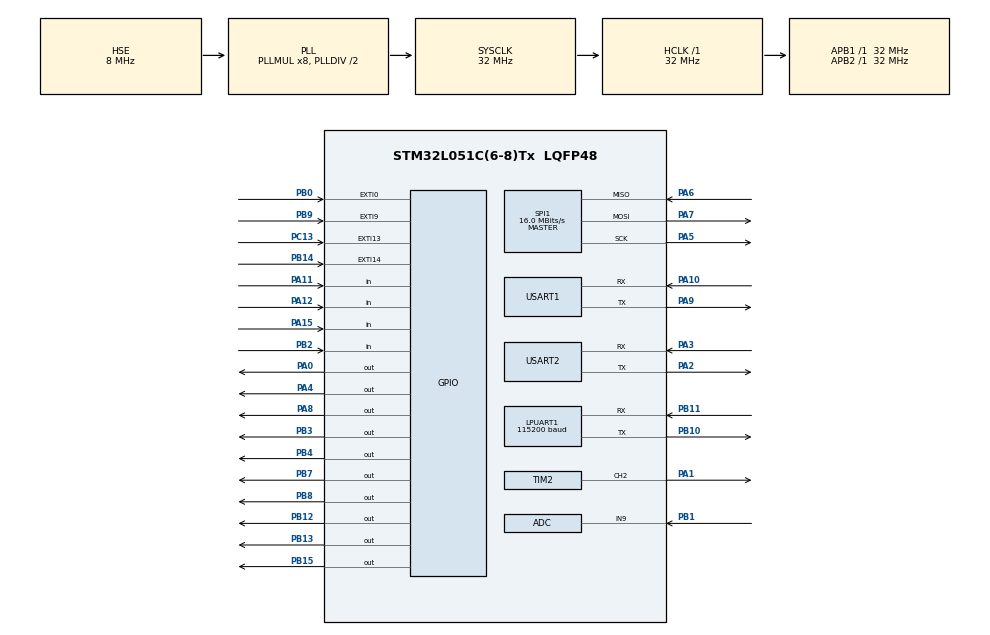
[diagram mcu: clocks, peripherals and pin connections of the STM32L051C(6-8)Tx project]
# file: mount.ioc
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ADC.ClockPrescaler=ADC_CLOCK_ASYNC_DIV64
ADC.ContinuousConvMode=ENABLE
ADC.DMAContinuousRequests=DISABLE
ADC.DataAlign=ADC_DATAALIGN_RIGHT
ADC.DiscontinuousConvMode=DISABLE
ADC.EOCSelection=ADC_EOC_SINGLE_SEQ_CONV
ADC.EnableAnalogWatchDog=false
ADC.ExternalTrigConv=ADC_SOFTWARE_START
ADC.ExternalTrigConvEdge=ADC_EXTERNALTRIGCONVEDGE_NONE
ADC.LowPowerAutoPowerOff=DISABLE
ADC.LowPowerAutoWait=DISABLE
ADC.LowPowerFrequencyMode=DISABLE
ADC.Overrun=ADC_OVR_DATA_PRESERVED
ADC.OversamplingMode=DISABLE
ADC.Resolution=ADC_RESOLUTION_12B
ADC.SamplingTime=ADC_SAMPLETIME_160CYCLES_5
ADC.ScanConvMode=ADC_SCAN_DIRECTION_FORWARD
FREERTOS.INCLUDE_eTaskGetState=1
FREERTOS.Mutexes01=EventLock,Dynamic,NULL;Uart1lock,Dynamic,NULL
FREERTOS.Queues01=EventQ,10,EventTypeDef,NULL,Dynamic,NULL,NULL;UartQ,16,uint8_t,NULL,Dynamic,NULL,NULL
FREERTOS.Tasks01=defaultTask,2,64,StartDefaultTask,Default,NULL,Dynamic,NULL,NULL;eventhandle,-3,128,Event_Task,Default,NULL,Dynamic,NULL,NULL;lte,-3,128,Lte_task,Default,NULL,Dynamic,NULL,NULL;s2lhandle,-3,128,S2L_Task,Default,NULL,Dynamic,NULL,NULL
FREERTOS.configMINIMAL_STACK_SIZE=64
FREERTOS.configTOTAL_HEAP_SIZE=5200
IWDG.Prescaler=IWDG_PRESCALER_32
LPUART1.BaudRate=115200
LPUART1.WordLength=UART_WORDLENGTH_8B
Mcu.Family=STM32L0
Mcu.Name=STM32L051C(6-8)Tx
Mcu.Package=LQFP48
NVIC.ADC1_COMP_IRQn=true\:3\:0\:false\:false\:true\:true
NVIC.AES_RNG_LPUART1_IRQn=true\:3\:0\:false\:false\:false\:true
NVIC.EXTI0_1_IRQn=true\:3\:0\:false\:false\:true\:true
NVIC.EXTI4_15_IRQn=true\:3\:0\:false\:false\:true\:true
NVIC.RTC_IRQn=true\:3\:0\:false\:false\:true\:true
NVIC.TIM2_IRQn=true\:0\:0\:false\:false\:true\:false
NVIC.TIM6_DAC_IRQn=true\:3\:0\:false\:false\:true\:true
NVIC.USART1_IRQn=true\:3\:0\:false\:false\:false\:true
NVIC.USART2_IRQn=true\:3\:0\:false\:false\:true\:true
PA0.Signal=GPIO_Output
PA1.Signal=S_TIM2_CH2
PA10.Mode=Asynchronous
PA10.Signal=USART1_RX
PA11.Signal=GPIO_Input
PA12.Signal=GPIO_Input
PA13.Mode=Serial_Wire
PA13.Signal=SYS_SWDIO
PA14.Mode=Serial_Wire
PA14.Signal=SYS_SWCLK
PA15.Signal=GPIO_Input
PA2.Mode=Asynchronous
PA2.Signal=USART2_TX
PA3.Mode=Asynchronous
PA3.Signal=USART2_RX
PA4.Signal=GPIO_Output
PA5.Mode=Full_Duplex_Master
PA5.Signal=SPI1_SCK
PA6.Mode=Full_Duplex_Master
PA6.Signal=SPI1_MISO
PA7.Mode=Full_Duplex_Master
PA7.Signal=SPI1_MOSI
PA8.Signal=GPIO_Output
PA9.Mode=Asynchronous
PA9.Signal=USART1_TX
PB0.Signal=GPXTI0
PB1.Mode=IN9
PB1.Signal=ADC_IN9
PB10.Mode=Asynchronous
PB10.Signal=LPUART1_TX
PB11.Mode=Asynchronous
PB11.Signal=LPUART1_RX
PB12.Signal=GPIO_Output
PB13.Signal=GPIO_Output
PB14.GPIO_ModeDefaultEXTI=GPIO_MODE_IT_FALLING
PB14.Signal=GPXTI14
PB15.Signal=GPIO_Output
PB2.Signal=GPIO_Input
PB3.Signal=GPIO_Output
PB4.Signal=GPIO_Output
PB7.Signal=GPIO_Output
PB8.Signal=GPIO_Output
PB9.GPIO_ModeDefaultEXTI=GPIO_MODE_IT_RISING_FALLING
PB9.GPIO_PuPd=GPIO_PULLDOWN
PB9.Signal=GPXTI9
PC13.GPIO_ModeDefaultEXTI=GPIO_MODE_IT_RISING_FALLING
PC13.GPIO_PuPd=GPIO_NOPULL
PC13.Signal=GPXTI13
PC14-OSC32_IN.Mode=LSE-External-Oscillator
PC14-OSC32_IN.Signal=RCC_OSC32_IN
PC15-OSC32_OUT.Mode=LSE-External-Oscillator
PC15-OSC32_OUT.Signal=RCC_OSC32_OUT
PH0-OSC_IN.Mode=HSE-External-Oscillator
PH0-OSC_IN.Signal=RCC_OSC_IN
PH1-OSC_OUT.Mode=HSE-External-Oscillator
PH1-OSC_OUT.Signal=RCC_OSC_OUT
ProjectManager.HeapSize=0x200
ProjectManager.StackSize=0x400
ProjectManager.TargetToolchain=EWARM
RCC.AHBCLKDivider=RCC_SYSCLK_DIV1
RCC.AHBFreq_Value=32000000
RCC.APB1CLKDivider=RCC_HCLK_DIV1
RCC.APB1Freq_Value=32000000
RCC.APB1TimFreq_Value=32000000
RCC.APB2CLKDivider=RCC_HCLK_DIV1
RCC.APB2Freq_Value=32000000
RCC.APB2TimFreq_Value=32000000
RCC.EnableCSSLSE=false
RCC.EnbaleCSS=false
RCC.HCLKFreq_Value=32000000
RCC.HSE_VALUE=8000000
RCC.HSI16_VALUE=16000000
RCC.HSIRCDiv=1
RCC.HSI_VALUE=16000000
RCC.MSI_VALUE=2097000
RCC.PLLDIV=RCC_PLLDIV_2
RCC.PLLMUL=RCC_PLLMUL_8
RCC.PLLSourceVirtual=RCC_PLLSOURCE_HSE
RCC.RCC_MCODiv=RCC_MCODIV_1
RCC.RCC_RTC_Clock_Source_FROM_HSE=RCC_RTCCLKSOURCE_HSE_DIV2
RCC.RTCClockSelection=RCC_RTCCLKSOURCE_LSE
RCC.RTCClockSelectionVirtual=RCC_RTCCLKSOURCE_LSE
RCC.SYSCLKFreq_VALUE=32000000
RCC.SYSCLKSource=RCC_SYSCLKSOURCE_PLLCLK
RCC.TimPrescaler=SYSTICK_CLKSOURCE_HCLK
RCC.VCOOutputFreq_Value=64000000
RTC.WakeUpClock-WakeUp=RTC_WAKEUPCLOCK_CK_SPRE_16BITS
RTC.WakeUpCounter-WakeUp=30
SH.S_TIM2_CH2.0=TIM2_CH2,PWM Generation2 CH2
SPI1.CalculateBaudRate=16.0 MBits/s
SPI1.Direction=SPI_DIRECTION_2LINES
SPI1.Mode=SPI_MODE_MASTER
SPI1.VirtualType=VM_MASTER
TIM2.Channel-PWM\ Generation2\ CH2=TIM_CHANNEL_2
TIM2.Period=1000-1
TIM2.Prescaler=32-1
TIM6.Prescaler=32000-1
USART1.VirtualMode-Asynchronous=VM_ASYNC
USART1.WordLength=WORDLENGTH_8B
USART2.VirtualMode-Asynchronous=VM_ASYNC
USART2.WordLength=WORDLENGTH_8B
VP_ADC_TempSens_Input.Mode=IN-TempSens
VP_ADC_Vref_Input.Mode=IN-Vrefint
VP_FREERTOS_VS_ENABLE.Mode=Enabled
VP_IWDG_VS_IWDG.Mode=IWDG_Activate
VP_RTC_VS_RTC_Activate.Mode=RTC_Enabled
VP_RTC_VS_RTC_Calendar.Mode=RTC_Calendar
VP_RTC_VS_RTC_WakeUp_intern.Mode=WakeUp
VP_TIM2_VS_ClockSourceINT.Mode=Internal
VP_TIM6_VS_ClockSourceINT.Mode=Enable_Timer
board=mount

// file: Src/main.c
/**
  ******************************************************************************
  * File Name          : main.c
  * Description        : Main program body
  ******************************************************************************
  * This notice applies to any and all portions of this file
  * that are not between comment pairs USER CODE BEGIN and
  * USER CODE END. Other portions of this file, whether
  * inserted by the user or by software development tools
  * are owned by their respective copyright owners.
  *
  * Copyright (c) 2017 STMicroelectronics International N.V.
  * All rights reserved.
  *
  * Redistribution and use in source and binary forms, with or without
  * modification, are permitted, provided that the following conditions are met:
  *
  * 1. Redistribution of source code must retain the above copyright notice,
  *    this list of conditions and the following disclaimer.
  * 2. Redistributions in binary form must reproduce the above copyright notice,
  *    this list of conditions and the following disclaimer in the documentation
  *    and/or other materials provided with the distribution.
  * 3. Neither the name of STMicroelectronics nor the names of other
  *    contributors to this software may be used to endorse or promote products
  *    derived from this software without specific written permission.
  * 4. This software, including modifications and/or derivative works of this
  *    software, must execute solely and exclusively on microcontroller or
  *    microprocessor devices manufactured by or for STMicroelectronics.
  * 5. Redistribution and use of this software other than as permitted under
  *    this license is void and will automatically terminate your rights under
  *    this license.
  *
  * THIS SOFTWARE IS PROVIDED BY STMICROELECTRONICS AND CONTRIBUTORS "AS IS"
  * AND ANY EXPRESS, IMPLIED OR STATUTORY WARRANTIES, INCLUDING, BUT NOT
  * LIMITED TO, THE IMPLIED WARRANTIES OF MERCHANTABILITY, FITNESS FOR A
  * PARTICULAR PURPOSE AND NON-INFRINGEMENT OF THIRD PARTY INTELLECTUAL PROPERTY
  * RIGHTS ARE DISCLAIMED TO THE FULLEST EXTENT PERMITTED BY LAW. IN NO EVENT
  * SHALL STMICROELECTRONICS OR CONTRIBUTORS BE LIABLE FOR ANY DIRECT, INDIRECT,
  * INCIDENTAL, SPECIAL, EXEMPLARY, OR CONSEQUENTIAL DAMAGES (INCLUDING, BUT NOT
  * LIMITED TO, PROCUREMENT OF SUBSTITUTE GOODS OR SERVICES; LOSS OF USE, DATA,
  * OR PROFITS; OR BUSINESS INTERRUPTION) HOWEVER CAUSED AND ON ANY THEORY OF
  * LIABILITY, WHETHER IN CONTRACT, STRICT LIABILITY, OR TORT (INCLUDING
  * NEGLIGENCE OR OTHERWISE) ARISING IN ANY WAY OUT OF THE USE OF THIS SOFTWARE,
  * EVEN IF ADVISED OF THE POSSIBILITY OF SUCH DAMAGE.
  *
  ******************************************************************************
  */
#include "main.h"
#include "stm32l0xx_hal.h"
#include "cmsis_os.h"

/* USER CODE BEGIN Includes */
#include "bsp.h"
#include "task.h"
#include "event.h"
#include "lis3dx.h"
#include "lte.h"
#include "s2l.h"
#include "cJSON.h"
#include "stdlib.h"
#include "fhex.h"
#include "period.h"
/* USER CODE END Includes */

ADC_HandleTypeDef hadc;

IWDG_HandleTypeDef hiwdg;

UART_HandleTypeDef hlpuart1;
UART_HandleTypeDef huart1;
UART_HandleTypeDef huart2;

RTC_HandleTypeDef hrtc;

SPI_HandleTypeDef hspi1;

TIM_HandleTypeDef htim2;
TIM_HandleTypeDef htim6;

osThreadId defaultTaskHandle;
osThreadId eventhandleHandle;
osThreadId lteHandle;
osThreadId s2lhandleHandle;
osMessageQId EventQHandle;
osMessageQId UartQHandle;
osMutexId EventLockHandle;
osMutexId Uart1lockHandle;

/* USER CODE BEGIN PV */
/* Private variables ---------------------------------------------------------*/

/* USER CODE END PV */

void SystemClock_Config(void);
static void MX_GPIO_Init(void);
static void MX_USART2_UART_Init(void);
static void MX_SPI1_Init(void);
static void MX_ADC_Init(void);
static void MX_LPUART1_UART_Init(void);
static void MX_USART1_UART_Init(void);
static void MX_RTC_Init(void);
static void MX_TIM6_Init(void);
static void MX_TIM2_Init(void);
static void MX_IWDG_Init(void);
void StartDefaultTask(void const * argument);
void Event_Task(void const * argument);
void Lte_task(void const * argument);
void S2L_Task(void const * argument);

void HAL_TIM_MspPostInit(TIM_HandleTypeDef *htim);

/* USER CODE BEGIN PFP */
/* Private function prototypes -----------------------------------------------*/

/* USER CODE END PFP */

int main(void)
{

  /* MCU Configuration----------------------------------------------------------*/

  /* Reset of all peripherals, Initializes the Flash interface and the Systick. */
  HAL_Init();

  /* Configure the system clock */
  SystemClock_Config();

  /* Initialize all configured peripherals */
  MX_GPIO_Init();
  MX_USART2_UART_Init();
  MX_SPI1_Init();
  MX_ADC_Init();
  MX_LPUART1_UART_Init();
  MX_USART1_UART_Init();
  MX_RTC_Init();
  MX_TIM6_Init();
  MX_TIM2_Init();
  MX_IWDG_Init();

  /* Create the mutex(es) */
  /* definition and creation of EventLock */
  osMutexDef(EventLock);
  EventLockHandle = osMutexCreate(osMutex(EventLock));

  /* definition and creation of Uart1lock */
  osMutexDef(Uart1lock);
  Uart1lockHandle = osMutexCreate(osMutex(Uart1lock));

  /* Create the thread(s) */
  /* definition and creation of defaultTask */
  osThreadDef(defaultTask, StartDefaultTask, osPriorityHigh, 0, 64);
  defaultTaskHandle = osThreadCreate(osThread(defaultTask), NULL);

  /* definition and creation of eventhandle */
  osThreadDef(eventhandle, Event_Task, osPriorityIdle, 0, 128);
  eventhandleHandle = osThreadCreate(osThread(eventhandle), NULL);

  /* definition and creation of lte */
  osThreadDef(lte, Lte_task, osPriorityIdle, 0, 128);
  lteHandle = osThreadCreate(osThread(lte), NULL);

  /* definition and creation of s2lhandle */
  osThreadDef(s2lhandle, S2L_Task, osPriorityIdle, 0, 128);
  s2lhandleHandle = osThreadCreate(osThread(s2lhandle), NULL);

  /* Create the queue(s) */
  /* definition and creation of EventQ */
  osMessageQDef(EventQ, 10, EventTypeDef);
  EventQHandle = osMessageCreate(osMessageQ(EventQ), NULL);

  /* definition and creation of UartQ */
  osMessageQDef(UartQ, 16, uint8_t);
  UartQHandle = osMessageCreate(osMessageQ(UartQ), NULL);

  /* USER CODE BEGIN RTOS_QUEUES */
  /* add queues, ... */
  BspInit();
  /* USER CODE END RTOS_QUEUES */

  /* Start scheduler */
  osKernelStart();

  /* We should never get here as control is now taken by the scheduler */

  /* Infinite loop */
  while (1)
  {

  }

}

/** System Clock Configuration
*/
void SystemClock_Config(void)
{

  RCC_OscInitTypeDef RCC_OscInitStruct;
  RCC_ClkInitTypeDef RCC_ClkInitStruct;
  RCC_PeriphCLKInitTypeDef PeriphClkInit;

    /**Configure the main internal regulator output voltage
    */
  __HAL_PWR_VOLTAGESCALING_CONFIG(PWR_REGULATOR_VOLTAGE_SCALE1);

    /**Configure LSE Drive Capability
    */
  __HAL_RCC_LSEDRIVE_CONFIG(RCC_LSEDRIVE_LOW);

    /**Initializes the CPU, AHB and APB busses clocks
    */
  RCC_OscInitStruct.OscillatorType = RCC_OSCILLATORTYPE_HSI|RCC_OSCILLATORTYPE_LSI
                              |RCC_OSCILLATORTYPE_HSE|RCC_OSCILLATORTYPE_LSE;
  RCC_OscInitStruct.HSEState = RCC_HSE_ON;
  RCC_OscInitStruct.LSEState = RCC_LSE_ON;
  RCC_OscInitStruct.HSIState = RCC_HSI_ON;
  RCC_OscInitStruct.HSICalibrationValue = 16;
  RCC_OscInitStruct.LSIState = RCC_LSI_ON;
  RCC_OscInitStruct.PLL.PLLState = RCC_PLL_ON;
  RCC_OscInitStruct.PLL.PLLSource = RCC_PLLSOURCE_HSE;
  RCC_OscInitStruct.PLL.PLLMUL = RCC_PLLMUL_8;
  RCC_OscInitStruct.PLL.PLLDIV = RCC_PLLDIV_2;
  if (HAL_RCC_OscConfig(&RCC_OscInitStruct) != HAL_OK)
  {
    _Error_Handler(__FILE__, __LINE__);
  }

    /**Initializes the CPU, AHB and APB busses clocks
    */
  RCC_ClkInitStruct.ClockType = RCC_CLOCKTYPE_HCLK|RCC_CLOCKTYPE_SYSCLK
                              |RCC_CLOCKTYPE_PCLK1|RCC_CLOCKTYPE_PCLK2;
  RCC_ClkInitStruct.SYSCLKSource = RCC_SYSCLKSOURCE_PLLCLK;
  RCC_ClkInitStruct.AHBCLKDivider = RCC_SYSCLK_DIV1;
  RCC_ClkInitStruct.APB1CLKDivider = RCC_HCLK_DIV1;
  RCC_ClkInitStruct.APB2CLKDivider = RCC_HCLK_DIV1;

  if (HAL_RCC_ClockConfig(&RCC_ClkInitStruct, FLASH_LATENCY_1) != HAL_OK)
  {
    _Error_Handler(__FILE__, __LINE__);
  }

  PeriphClkInit.PeriphClockSelection = RCC_PERIPHCLK_USART1|RCC_PERIPHCLK_USART2
                              |RCC_PERIPHCLK_LPUART1|RCC_PERIPHCLK_RTC;
  PeriphClkInit.Usart1ClockSelection = RCC_USART1CLKSOURCE_PCLK2;
  PeriphClkInit.Usart2ClockSelection = RCC_USART2CLKSOURCE_PCLK1;
  PeriphClkInit.Lpuart1ClockSelection = RCC_LPUART1CLKSOURCE_PCLK1;
  PeriphClkInit.RTCClockSelection = RCC_RTCCLKSOURCE_LSE;
  if (HAL_RCCEx_PeriphCLKConfig(&PeriphClkInit) != HAL_OK)
  {
    _Error_Handler(__FILE__, __LINE__);
  }

    /**Configure the Systick interrupt time
    */
  HAL_SYSTICK_Config(HAL_RCC_GetHCLKFreq()/1000);

    /**Configure the Systick
    */
  HAL_SYSTICK_CLKSourceConfig(SYSTICK_CLKSOURCE_HCLK);

  /* SysTick_IRQn interrupt configuration */
  HAL_NVIC_SetPriority(SysTick_IRQn, 3, 0);
}

/* ADC init function */
static void MX_ADC_Init(void)
{

  ADC_ChannelConfTypeDef sConfig;

    /**Configure the global features of the ADC (Clock, Resolution, Data Alignment and number of conversion)
    */
  hadc.Instance = ADC1;
  hadc.Init.OversamplingMode = DISABLE;
  hadc.Init.ClockPrescaler = ADC_CLOCK_ASYNC_DIV64;
  hadc.Init.Resolution = ADC_RESOLUTION_12B;
  hadc.Init.SamplingTime = ADC_SAMPLETIME_160CYCLES_5;
  hadc.Init.ScanConvMode = ADC_SCAN_DIRECTION_FORWARD;
  hadc.Init.DataAlign = ADC_DATAALIGN_RIGHT;
  hadc.Init.ContinuousConvMode = ENABLE;
  hadc.Init.DiscontinuousConvMode = DISABLE;
  hadc.Init.ExternalTrigConvEdge = ADC_EXTERNALTRIGCONVEDGE_NONE;
  hadc.Init.ExternalTrigConv = ADC_SOFTWARE_START;
  hadc.Init.DMAContinuousRequests = DISABLE;
  hadc.Init.EOCSelection = ADC_EOC_SINGLE_SEQ_CONV;
  hadc.Init.Overrun = ADC_OVR_DATA_PRESERVED;
  hadc.Init.LowPowerAutoWait = DISABLE;
  hadc.Init.LowPowerFrequencyMode = DISABLE;
  hadc.Init.LowPowerAutoPowerOff = DISABLE;
  if (HAL_ADC_Init(&hadc) != HAL_OK)
  {
    _Error_Handler(__FILE__, __LINE__);
  }

    /**Configure for the selected ADC regular channel to be converted.
    */
  sConfig.Channel = ADC_CHANNEL_9;
  sConfig.Rank = ADC_RANK_CHANNEL_NUMBER;
  if (HAL_ADC_ConfigChannel(&hadc, &sConfig) != HAL_OK)
  {
    _Error_Handler(__FILE__, __LINE__);
  }

    /**Configure for the selected ADC regular channel to be converted.
    */
  sConfig.Channel = ADC_CHANNEL_TEMPSENSOR;
  if (HAL_ADC_ConfigChannel(&hadc, &sConfig) != HAL_OK)
  {
    _Error_Handler(__FILE__, __LINE__);
  }

    /**Configure for the selected ADC regular channel to be converted.
    */
  sConfig.Channel = ADC_CHANNEL_VREFINT;
  if (HAL_ADC_ConfigChannel(&hadc, &sConfig) != HAL_OK)
  {
    _Error_Handler(__FILE__, __LINE__);
  }

}

/* IWDG init function */
static void MX_IWDG_Init(void)
{

  hiwdg.Instance = IWDG;
  hiwdg.Init.Prescaler = IWDG_PRESCALER_32;
  hiwdg.Init.Window = 4095;
  hiwdg.Init.Reload = 4095;
  if (HAL_IWDG_Init(&hiwdg) != HAL_OK)
  {
    _Error_Handler(__FILE__, __LINE__);
  }

}

/* LPUART1 init function */
static void MX_LPUART1_UART_Init(void)
{

  hlpuart1.Instance = LPUART1;
  hlpuart1.Init.BaudRate = 115200;
  hlpuart1.Init.WordLength = UART_WORDLENGTH_8B;
  hlpuart1.Init.StopBits = UART_STOPBITS_1;
  hlpuart1.Init.Parity = UART_PARITY_NONE;
  hlpuart1.Init.Mode = UART_MODE_TX_RX;
  hlpuart1.Init.HwFlowCtl = UART_HWCONTROL_NONE;
  hlpuart1.Init.OneBitSampling = UART_ONE_BIT_SAMPLE_DISABLE;
  hlpuart1.AdvancedInit.AdvFeatureInit = UART_ADVFEATURE_NO_INIT;
  if (HAL_UART_Init(&hlpuart1) != HAL_OK)
  {
    _Error_Handler(__FILE__, __LINE__);
  }

}

/* USART1 init function */
static void MX_USART1_UART_Init(void)
{

  huart1.Instance = USART1;
  huart1.Init.BaudRate = 115200;
  huart1.Init.WordLength = UART_WORDLENGTH_8B;
  huart1.Init.StopBits = UART_STOPBITS_1;
  huart1.Init.Parity = UART_PARITY_NONE;
  huart1.Init.Mode = UART_MODE_TX_RX;
  huart1.Init.HwFlowCtl = UART_HWCONTROL_NONE;
  huart1.Init.OverSampling = UART_OVERSAMPLING_16;
  huart1.Init.OneBitSampling = UART_ONE_BIT_SAMPLE_DISABLE;
  huart1.AdvancedInit.AdvFeatureInit = UART_ADVFEATURE_NO_INIT;
  if (HAL_UART_Init(&huart1) != HAL_OK)
  {
    _Error_Handler(__FILE__, __LINE__);
  }

}

/* USART2 init function */
static void MX_USART2_UART_Init(void)
{

  huart2.Instance = USART2;
  huart2.Init.BaudRate = 115200;
  huart2.Init.WordLength = UART_WORDLENGTH_8B;
  huart2.Init.StopBits = UART_STOPBITS_1;
  huart2.Init.Parity = UART_PARITY_NONE;
  huart2.Init.Mode = UART_MODE_TX_RX;
  huart2.Init.HwFlowCtl = UART_HWCONTROL_NONE;
  huart2.Init.OverSampling = UART_OVERSAMPLING_16;
  huart2.Init.OneBitSampling = UART_ONE_BIT_SAMPLE_DISABLE;
  huart2.AdvancedInit.AdvFeatureInit = UART_ADVFEATURE_NO_INIT;
  if (HAL_UART_Init(&huart2) != HAL_OK)
  {
    _Error_Handler(__FILE__, __LINE__);
  }

}

/* RTC init function */
static void MX_RTC_Init(void)
{

  RTC_TimeTypeDef sTime;
  RTC_DateTypeDef sDate;

    /**Initialize RTC Only
    */
  hrtc.Instance = RTC;
  hrtc.Init.HourFormat = RTC_HOURFORMAT_24;
  hrtc.Init.AsynchPrediv = 127;
  hrtc.Init.SynchPrediv = 255;
  hrtc.Init.OutPut = RTC_OUTPUT_DISABLE;
  hrtc.Init.OutPutRemap = RTC_OUTPUT_REMAP_NONE;
  hrtc.Init.OutPutPolarity = RTC_OUTPUT_POLARITY_HIGH;
  hrtc.Init.OutPutType = RTC_OUTPUT_TYPE_OPENDRAIN;
  if (HAL_RTC_Init(&hrtc) != HAL_OK)
  {
    _Error_Handler(__FILE__, __LINE__);
  }

    /**Initialize RTC and set the Time and Date
    */
  if(HAL_RTCEx_BKUPRead(&hrtc, RTC_BKP_DR0) != 0x32F2){
  sTime.Hours = 0x0;
  sTime.Minutes = 0x0;
  sTime.Seconds = 0x0;
  sTime.DayLightSaving = RTC_DAYLIGHTSAVING_NONE;
  sTime.StoreOperation = RTC_STOREOPERATION_RESET;
  if (HAL_RTC_SetTime(&hrtc, &sTime, RTC_FORMAT_BCD) != HAL_OK)
  {
    _Error_Handler(__FILE__, __LINE__);
  }

  sDate.WeekDay = RTC_WEEKDAY_MONDAY;
  sDate.Month = RTC_MONTH_JANUARY;
  sDate.Date = 0x1;
  sDate.Year = 0x0;

  if (HAL_RTC_SetDate(&hrtc, &sDate, RTC_FORMAT_BCD) != HAL_OK)
  {
    _Error_Handler(__FILE__, __LINE__);
  }

    HAL_RTCEx_BKUPWrite(&hrtc,RTC_BKP_DR0,0x32F2);
  }
    /**Enable the WakeUp
    */
  if (HAL_RTCEx_SetWakeUpTimer_IT(&hrtc, 30, RTC_WAKEUPCLOCK_CK_SPRE_16BITS) != HAL_OK)
  {
    _Error_Handler(__FILE__, __LINE__);
  }

}

/* SPI1 init function */
static void MX_SPI1_Init(void)
{

  hspi1.Instance = SPI1;
  hspi1.Init.Mode = SPI_MODE_MASTER;
  hspi1.Init.Direction = SPI_DIRECTION_2LINES;
  hspi1.Init.DataSize = SPI_DATASIZE_8BIT;
  hspi1.Init.CLKPolarity = SPI_POLARITY_LOW;
  hspi1.Init.CLKPhase = SPI_PHASE_1EDGE;
  hspi1.Init.NSS = SPI_NSS_SOFT;
  hspi1.Init.BaudRatePrescaler = SPI_BAUDRATEPRESCALER_2;
  hspi1.Init.FirstBit = SPI_FIRSTBIT_MSB;
  hspi1.Init.TIMode = SPI_TIMODE_DISABLE;
  hspi1.Init.CRCCalculation = SPI_CRCCALCULATION_DISABLE;
  hspi1.Init.CRCPolynomial = 7;
  if (HAL_SPI_Init(&hspi1) != HAL_OK)
  {
    _Error_Handler(__FILE__, __LINE__);
  }

}

/* TIM2 init function */
static void MX_TIM2_Init(void)
{

  TIM_ClockConfigTypeDef sClockSourceConfig;
  TIM_MasterConfigTypeDef sMasterConfig;
  TIM_OC_InitTypeDef sConfigOC;

  htim2.Instance = TIM2;
  htim2.Init.Prescaler = 32-1;
  htim2.Init.CounterMode = TIM_COUNTERMODE_UP;
  htim2.Init.Period = 1000-1;
  htim2.Init.ClockDivision = TIM_CLOCKDIVISION_DIV1;
  if (HAL_TIM_Base_Init(&htim2) != HAL_OK)
  {
    _Error_Handler(__FILE__, __LINE__);
  }

  sClockSourceConfig.ClockSource = TIM_CLOCKSOURCE_INTERNAL;
  if (HAL_TIM_ConfigClockSource(&htim2, &sClockSourceConfig) != HAL_OK)
  {
    _Error_Handler(__FILE__, __LINE__);
  }

  if (HAL_TIM_PWM_Init(&htim2) != HAL_OK)
  {
    _Error_Handler(__FILE__, __LINE__);
  }

  sMasterConfig.MasterOutputTrigger = TIM_TRGO_RESET;
  sMasterConfig.MasterSlaveMode = TIM_MASTERSLAVEMODE_DISABLE;
  if (HAL_TIMEx_MasterConfigSynchronization(&htim2, &sMasterConfig) != HAL_OK)
  {
    _Error_Handler(__FILE__, __LINE__);
  }

  sConfigOC.OCMode = TIM_OCMODE_PWM1;
  sConfigOC.Pulse = 0;
  sConfigOC.OCPolarity = TIM_OCPOLARITY_HIGH;
  sConfigOC.OCFastMode = TIM_OCFAST_DISABLE;
  if (HAL_TIM_PWM_ConfigChannel(&htim2, &sConfigOC, TIM_CHANNEL_2) != HAL_OK)
  {
    _Error_Handler(__FILE__, __LINE__);
  }

  HAL_TIM_MspPostInit(&htim2);

}

/* TIM6 init function */
static void MX_TIM6_Init(void)
{

  TIM_MasterConfigTypeDef sMasterConfig;

  htim6.Instance = TIM6;
  htim6.Init.Prescaler = 32000-1;
  htim6.Init.CounterMode = TIM_COUNTERMODE_UP;
  htim6.Init.Period = 0;
  if (HAL_TIM_Base_Init(&htim6) != HAL_OK)
  {
    _Error_Handler(__FILE__, __LINE__);
  }

  sMasterConfig.MasterOutputTrigger = TIM_TRGO_RESET;
  sMasterConfig.MasterSlaveMode = TIM_MASTERSLAVEMODE_DISABLE;
  if (HAL_TIMEx_MasterConfigSynchronization(&htim6, &sMasterConfig) != HAL_OK)
  {
    _Error_Handler(__FILE__, __LINE__);
  }

}

/** Configure pins as
        * Analog
        * Input
        * Output
        * EVENT_OUT
        * EXTI
        * Free pins are configured automatically as Analog (this feature is enabled through
        * the Code Generation settings)
*/
static void MX_GPIO_Init(void)
{

  GPIO_InitTypeDef GPIO_InitStruct;

  /* GPIO Ports Clock Enable */
  __HAL_RCC_GPIOC_CLK_ENABLE();
  __HAL_RCC_GPIOH_CLK_ENABLE();
  __HAL_RCC_GPIOA_CLK_ENABLE();
  __HAL_RCC_GPIOB_CLK_ENABLE();

  /*Configure GPIO pin Output Level */
  HAL_GPIO_WritePin(GPIOA, GPIO_PIN_0|GPIO_PIN_4|GPIO_PIN_8, GPIO_PIN_RESET);

  /*Configure GPIO pin Output Level */
  HAL_GPIO_WritePin(GPIOB, GPIO_PIN_12|GPIO_PIN_13|GPIO_PIN_15|GPIO_PIN_3
                          |GPIO_PIN_4|GPIO_PIN_7|GPIO_PIN_8, GPIO_PIN_RESET);

  /*Configure GPIO pin : PC13 */
  GPIO_InitStruct.Pin = GPIO_PIN_13;
  GPIO_InitStruct.Mode = GPIO_MODE_IT_RISING_FALLING;
  GPIO_InitStruct.Pull = GPIO_NOPULL;
  HAL_GPIO_Init(GPIOC, &GPIO_InitStruct);

  /*Configure GPIO pins : PA0 PA4 PA8 */
  GPIO_InitStruct.Pin = GPIO_PIN_0|GPIO_PIN_4|GPIO_PIN_8;
  GPIO_InitStruct.Mode = GPIO_MODE_OUTPUT_PP;
  GPIO_InitStruct.Pull = GPIO_NOPULL;
  GPIO_InitStruct.Speed = GPIO_SPEED_FREQ_LOW;
  HAL_GPIO_Init(GPIOA, &GPIO_InitStruct);

  /*Configure GPIO pin : PB0 */
  GPIO_InitStruct.Pin = GPIO_PIN_0;
  GPIO_InitStruct.Mode = GPIO_MODE_IT_RISING;
  GPIO_InitStruct.Pull = GPIO_NOPULL;
  HAL_GPIO_Init(GPIOB, &GPIO_InitStruct);

  /*Configure GPIO pin : PB2 */
  GPIO_InitStruct.Pin = GPIO_PIN_2;
  GPIO_InitStruct.Mode = GPIO_MODE_INPUT;
  GPIO_InitStruct.Pull = GPIO_NOPULL;
  HAL_GPIO_Init(GPIOB, &GPIO_InitStruct);

  /*Configure GPIO pins : PB12 PB13 PB15 PB3
                           PB4 PB7 PB8 */
  GPIO_InitStruct.Pin = GPIO_PIN_12|GPIO_PIN_13|GPIO_PIN_15|GPIO_PIN_3
                          |GPIO_PIN_4|GPIO_PIN_7|GPIO_PIN_8;
  GPIO_InitStruct.Mode = GPIO_MODE_OUTPUT_PP;
  GPIO_InitStruct.Pull = GPIO_NOPULL;
  GPIO_InitStruct.Speed = GPIO_SPEED_FREQ_LOW;
  HAL_GPIO_Init(GPIOB, &GPIO_InitStruct);

  /*Configure GPIO pin : PB14 */
  GPIO_InitStruct.Pin = GPIO_PIN_14;
  GPIO_InitStruct.Mode = GPIO_MODE_IT_FALLING;
  GPIO_InitStruct.Pull = GPIO_NOPULL;
  HAL_GPIO_Init(GPIOB, &GPIO_InitStruct);

  /*Configure GPIO pins : PA11 PA12 PA15 */
  GPIO_InitStruct.Pin = GPIO_PIN_11|GPIO_PIN_12|GPIO_PIN_15;
  GPIO_InitStruct.Mode = GPIO_MODE_INPUT;
  GPIO_InitStruct.Pull = GPIO_NOPULL;
  HAL_GPIO_Init(GPIOA, &GPIO_InitStruct);

  /*Configure GPIO pins : PB5 PB6 */
  GPIO_InitStruct.Pin = GPIO_PIN_5|GPIO_PIN_6;
  GPIO_InitStruct.Mode = GPIO_MODE_ANALOG;
  GPIO_InitStruct.Pull = GPIO_NOPULL;
  HAL_GPIO_Init(GPIOB, &GPIO_InitStruct);

  /*Configure GPIO pin : PB9 */
  GPIO_InitStruct.Pin = GPIO_PIN_9;
  GPIO_InitStruct.Mode = GPIO_MODE_IT_RISING_FALLING;
  GPIO_InitStruct.Pull = GPIO_PULLDOWN;
  HAL_GPIO_Init(GPIOB, &GPIO_InitStruct);

  /* EXTI interrupt init*/
  HAL_NVIC_SetPriority(EXTI0_1_IRQn, 3, 0);
  HAL_NVIC_EnableIRQ(EXTI0_1_IRQn);

  HAL_NVIC_SetPriority(EXTI4_15_IRQn, 3, 0);
  HAL_NVIC_EnableIRQ(EXTI4_15_IRQn);

}

/* StartDefaultTask function */
void StartDefaultTask(void const * argument)
{

  /* USER CODE BEGIN 5 */
  PeriodTask();
  /* Infinite loop */
  for(;;)
  {
    osDelay(1000);
    //LedTog();
    //pin=HAL_GPIO_ReadPin(MW_IT,MW_IT_PIN);
  }
  /* USER CODE END 5 */
}

/* Event_Task function */
void Event_Task(void const * argument)
{
  /* USER CODE BEGIN Event_Task */
  EventTask();
  /* Infinite loop */
  for(;;)
  {
    osDelay(1000);
  }
  /* USER CODE END Event_Task */
}

/* Lte_task function */
void Lte_task(void const * argument)
{
  /* USER CODE BEGIN Lte_task */
  LteTask();
  /* Infinite loop */
  for(;;)
  {
    osDelay(1000);
  }
  /* USER CODE END Lte_task */
}

/* S2L_Task function */
void S2L_Task(void const * argument)
{
  /* USER CODE BEGIN S2L_Task */
  S2lTask();
  /* Infinite loop */
  for(;;)
  {
    osDelay(1000);
  }
  /* USER CODE END S2L_Task */
}

void _Error_Handler(char * file, int line)
{
  while(1)
  {
  }
}

/************************ (C) COPYRIGHT STMicroelectronics *****END OF FILE****/
